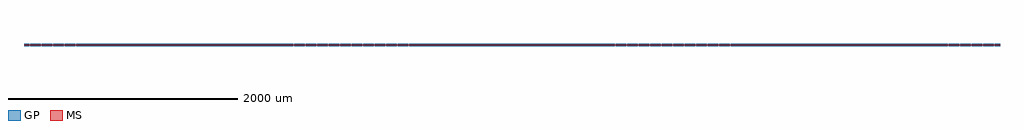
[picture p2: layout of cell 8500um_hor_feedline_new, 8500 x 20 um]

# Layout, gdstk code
import gdstk
lib = gdstk.Library(unit=1e-6, precision=1e-09)
def R(c, l, rs):  # rectangles x0, y0, x1, y1
    for r in rs: c.add(gdstk.rectangle(r[:2], r[2:], *l))
def A(c, l, x, y, w, h, nx, ny, dx, dy):  # array of equal rectangles
    R(c, l, [(x+i*dx, y+j*dy, x+i*dx+w, y+j*dy+h) for i in range(nx) for j in range(ny)])
GP = (3, 0)
MS = (11, 0)

c_8500um_hor_feedline_gpsu = lib.new_cell('8500um_hor_feedline_GPsub_new')
A(c_8500um_hor_feedline_gpsu, GP, -4197, -10, 94, 20, 84, 1, 100, 0)
R(c_8500um_hor_feedline_gpsu, GP, [(-4250,-10,-4203,10), (4203,-10,4250,10)])

c_8500um_hor_feedline_main = lib.new_cell('8500um_hor_feedline_main_new')
R(c_8500um_hor_feedline_main, MS, [(-4250,-4,4250,4)])

c_8500um_hor_feedline_new = lib.new_cell('8500um_hor_feedline_new')
c_8500um_hor_feedline_new.add(gdstk.Reference(c_8500um_hor_feedline_gpsu, (0,0)))
c_8500um_hor_feedline_new.add(gdstk.Reference(c_8500um_hor_feedline_main, (0,0)))

lib.write_gds('8500um_hor_feedline_new.gds')
